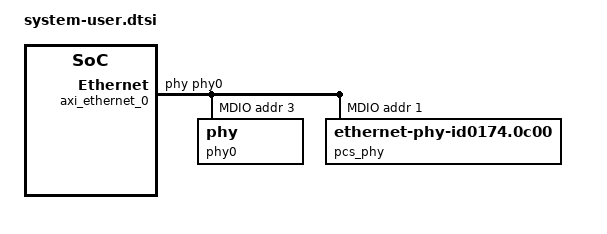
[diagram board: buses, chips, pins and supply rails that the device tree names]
/include/ "system-conf.dtsi"

/ {
    udmabuf0: udmabuf@0x00 {
        compatible = "ikwzm,u-dma-buf";
        device-name = "udmabuf0";
        size = <0x00100000>;
    };

};

// &fft_0_dma    { compatible = "generic-uio"; };

&axi_ethernet_0 {
    phy-handle = <&phy0>;
    /delete-property/ pcs-handle;
    /delete-property/ managed;
    /delete-property/ xlnx,switch-x-sgmii;
    /delete-node/ mdio;
    axi_ethernet_mdio: mdio {
        #address-cells = <1>;
        #size-cells = <0>;
        phy0: phy@3 {
            device_type = "ethernet-phy";
            ti,sgmii-ref-clock-output-enable;
            ti,dp83867-rxctrl-strap-quirk;
            ti,rx-internal-delay = <0x8>;
            ti,tx-internal-delay = <0xa>;
            ti,fifo-depth = <0x1>;
            reg = <3>;
        };
    };
};

&axi_ethernet_0 {
    pcs-handle = <&pcs_phy>;
};

&axi_ethernet_mdio {
    pcs_phy: ethernet-phy@1 {
        compatible = "ethernet-phy-id0174.0c00";
        reg = <1>;
    };
};
